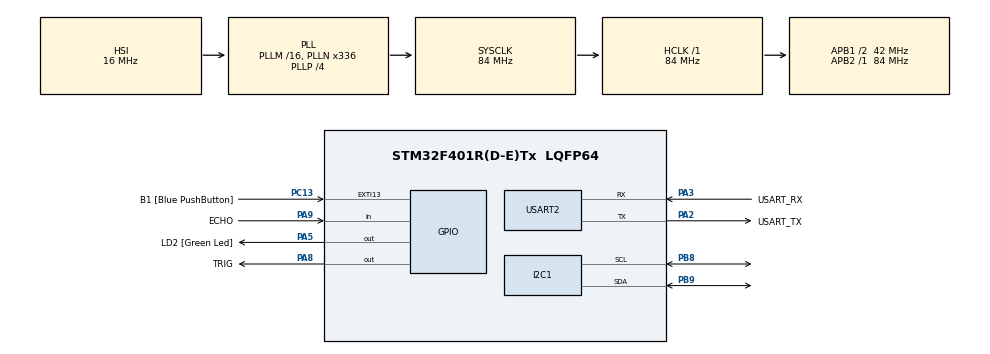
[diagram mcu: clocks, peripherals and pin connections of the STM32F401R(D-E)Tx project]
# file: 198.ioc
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Mcu.Family=STM32F4
Mcu.Name=STM32F401R(D-E)Tx
Mcu.Package=LQFP64
NVIC.PriorityGroup=NVIC_PRIORITYGROUP_0
PA13.GPIO_Label=TMS
PA13.Mode=Serial_Wire
PA13.Signal=SYS_JTMS-SWDIO
PA14.GPIO_Label=TCK
PA14.Mode=Serial_Wire
PA14.Signal=SYS_JTCK-SWCLK
PA2.GPIO_Label=USART_TX
PA2.GPIO_Mode=GPIO_MODE_AF_PP
PA2.GPIO_PuPd=GPIO_NOPULL
PA2.GPIO_Speed=GPIO_SPEED_FREQ_LOW
PA2.Mode=Asynchronous
PA2.Signal=USART2_TX
PA3.GPIO_Label=USART_RX
PA3.GPIO_Mode=GPIO_MODE_AF_PP
PA3.GPIO_PuPd=GPIO_NOPULL
PA3.GPIO_Speed=GPIO_SPEED_FREQ_LOW
PA3.Mode=Asynchronous
PA3.Signal=USART2_RX
PA5.GPIO_Label=LD2 [Green Led]
PA5.GPIO_Mode=GPIO_MODE_OUTPUT_PP
PA5.GPIO_PuPd=GPIO_NOPULL
PA5.GPIO_Speed=GPIO_SPEED_FREQ_LOW
PA5.Signal=GPIO_Output
PA8.GPIO_Label=TRIG
PA8.Signal=GPIO_Output
PA9.GPIO_Label=ECHO
PA9.Signal=GPIO_Input
PB3.GPIO_Label=SWO
PB3.Signal=SYS_JTDO-SWO
PB8.Mode=I2C
PB8.Signal=I2C1_SCL
PB9.Mode=I2C
PB9.Signal=I2C1_SDA
PC13-ANTI_TAMP.GPIO_Label=B1 [Blue PushButton]
PC13-ANTI_TAMP.GPIO_ModeDefaultEXTI=GPIO_MODE_IT_FALLING
PC13-ANTI_TAMP.GPIO_PuPd=GPIO_NOPULL
PC13-ANTI_TAMP.Signal=GPXTI13
PC14-OSC32_IN.Mode=LSE-External-Oscillator
PC14-OSC32_IN.Signal=RCC_OSC32_IN
PC15-OSC32_OUT.Mode=LSE-External-Oscillator
PC15-OSC32_OUT.Signal=RCC_OSC32_OUT
PH0\ -\ OSC_IN.Mode=HSE-External-Clock-Source
PH0\ -\ OSC_IN.Signal=RCC_OSC_IN
PH1\ -\ OSC_OUT.Mode=HSE-External-Clock-Source
PH1\ -\ OSC_OUT.Signal=RCC_OSC_OUT
ProjectManager.HeapSize=0x200
ProjectManager.StackSize=0x400
ProjectManager.TargetToolchain=STM32CubeIDE
RCC.48MHZClocksFreq_Value=48000000
RCC.AHBFreq_Value=84000000
RCC.APB1CLKDivider=RCC_HCLK_DIV2
RCC.APB1Freq_Value=42000000
RCC.APB1TimFreq_Value=84000000
RCC.APB2Freq_Value=84000000
RCC.APB2TimFreq_Value=84000000
RCC.CortexFreq_Value=84000000
RCC.HCLKFreq_Value=84000000
RCC.HSE_VALUE=8000000
RCC.HSI_VALUE=16000000
RCC.PLLN=336
RCC.PLLP=RCC_PLLP_DIV4
RCC.PLLQ=7
RCC.SYSCLKFreq_VALUE=84000000
RCC.SYSCLKSource=RCC_SYSCLKSOURCE_PLLCLK
RCC.VCOOutputFreq_Value=336000000
TIM3.Period=0
TIM3.Prescaler=84-1
USART2.VirtualMode=VM_ASYNC
VP_TIM3_VS_ClockSourceINT.Mode=Internal
board=NUCLEO-F401RE

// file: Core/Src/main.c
/* USER CODE BEGIN Header */
/**
 ******************************************************************************
 * @file           : main.c
 * @brief          : Main program body
 ******************************************************************************
 * @attention
 *
 * Copyright (c) 2022 STMicroelectronics.
 * All rights reserved.
 *
 * This software is licensed under terms that can be found in the LICENSE file
 * in the root directory of this software component.
 * If no LICENSE file comes with this software, it is provided AS-IS.
 *
 ******************************************************************************
 */
/* USER CODE END Header */
#include "main.h"

/* USER CODE BEGIN Includes */
#include "liquidcrystal_i2c.h"
#include <stdio.h>
#include <string.h>
/* USER CODE END Includes */

/* USER CODE BEGIN PTD */
#define usTIM TIM3
/* USER CODE END PTD */

I2C_HandleTypeDef hi2c1;

TIM_HandleTypeDef htim3;

UART_HandleTypeDef huart2;

void SystemClock_Config(void);
static void MX_GPIO_Init(void);
static void MX_USART2_UART_Init(void);
static void MX_I2C1_Init(void);
static void MX_TIM3_Init(void);
/* USER CODE BEGIN PFP */

void usDelay(uint32_t uSec);
/* USER CODE END PFP */

/* USER CODE BEGIN 0 */
const float speedOfSound = 0.0343 / 2;
float distance;
char uartBuf[100];

int _write(int file, char *ptr, int len) {
	/* Implement your write code here, this is used by puts and printf for example */
	int i = 0;
	for (i = 0; i < len; i++)
		ITM_SendChar((*ptr++));
	return len;
}
uint8_t count = 0;
/* USER CODE END 0 */

int main(void) {
	/* USER CODE BEGIN 1 */
	uint32_t numTicks;
	/* USER CODE END 1 */

	/* MCU Configuration--------------------------------------------------------*/

	/* Reset of all peripherals, Initializes the Flash interface and the Systick. */
	HAL_Init();

	/* Configure the system clock */
	SystemClock_Config();

	/* Initialize all configured peripherals */
	MX_GPIO_Init();
	MX_USART2_UART_Init();
	MX_I2C1_Init();
	MX_TIM3_Init();
	/* USER CODE BEGIN 2 */
	HD44780_Init(2);
	HD44780_Clear();
	HD44780_SetCursor(0, 0);
	HD44780_PrintStr("Hello World");
	/* USER CODE END 2 */

	/* Infinite loop */
	while (1) {

		/* USER CODE BEGIN 3 */
		HAL_GPIO_TogglePin(GPIOA, GPIO_PIN_5);

		//Set TRIG to LOW for a few uSec
		HAL_GPIO_WritePin(TRIG_GPIO_Port, TRIG_Pin, GPIO_PIN_RESET);
		usDelay(3);

		//Use TRIG
		HAL_GPIO_WritePin(TRIG_GPIO_Port, TRIG_Pin, GPIO_PIN_SET);
		usDelay(10);
		HAL_GPIO_WritePin(TRIG_GPIO_Port, TRIG_Pin, GPIO_PIN_RESET);

		//Measure Echo Signal
		while (HAL_GPIO_ReadPin(ECHO_GPIO_Port, ECHO_Pin) == GPIO_PIN_RESET)
			;

		numTicks = 0;
		while (HAL_GPIO_ReadPin(ECHO_GPIO_Port, ECHO_Pin) == GPIO_PIN_SET) {
			numTicks++;
			usDelay(2); // 2.8 usec
		}

		distance = (numTicks + 0.0f) * 2.8 * speedOfSound;

		sprintf(uartBuf, "Distance (cm) = %d\r\n", (int) (distance));

		HAL_UART_Transmit(&huart2, (uint8_t*) uartBuf, strlen(uartBuf), 100);

		HAL_Delay(1000);
	}
	/* USER CODE END 3 */
}

void SystemClock_Config(void) {
	RCC_OscInitTypeDef RCC_OscInitStruct = { 0 };
	RCC_ClkInitTypeDef RCC_ClkInitStruct = { 0 };

	/** Configure the main internal regulator output voltage
	 */
	__HAL_RCC_PWR_CLK_ENABLE();
	__HAL_PWR_VOLTAGESCALING_CONFIG(PWR_REGULATOR_VOLTAGE_SCALE2);

	/** Initializes the RCC Oscillators according to the specified parameters
	 * in the RCC_OscInitTypeDef structure.
	 */
	RCC_OscInitStruct.OscillatorType = RCC_OSCILLATORTYPE_HSI;
	RCC_OscInitStruct.HSIState = RCC_HSI_ON;
	RCC_OscInitStruct.HSICalibrationValue = RCC_HSICALIBRATION_DEFAULT;
	RCC_OscInitStruct.PLL.PLLState = RCC_PLL_ON;
	RCC_OscInitStruct.PLL.PLLSource = RCC_PLLSOURCE_HSI;
	RCC_OscInitStruct.PLL.PLLM = 16;
	RCC_OscInitStruct.PLL.PLLN = 336;
	RCC_OscInitStruct.PLL.PLLP = RCC_PLLP_DIV4;
	RCC_OscInitStruct.PLL.PLLQ = 7;
	if (HAL_RCC_OscConfig(&RCC_OscInitStruct) != HAL_OK) {
		Error_Handler();
	}

	/** Initializes the CPU, AHB and APB buses clocks
	 */
	RCC_ClkInitStruct.ClockType = RCC_CLOCKTYPE_HCLK | RCC_CLOCKTYPE_SYSCLK
			| RCC_CLOCKTYPE_PCLK1 | RCC_CLOCKTYPE_PCLK2;
	RCC_ClkInitStruct.SYSCLKSource = RCC_SYSCLKSOURCE_PLLCLK;
	RCC_ClkInitStruct.AHBCLKDivider = RCC_SYSCLK_DIV1;
	RCC_ClkInitStruct.APB1CLKDivider = RCC_HCLK_DIV2;
	RCC_ClkInitStruct.APB2CLKDivider = RCC_HCLK_DIV1;

	if (HAL_RCC_ClockConfig(&RCC_ClkInitStruct, FLASH_LATENCY_2) != HAL_OK) {
		Error_Handler();
	}
}

static void MX_I2C1_Init(void) {

	hi2c1.Instance = I2C1;
	hi2c1.Init.ClockSpeed = 100000;
	hi2c1.Init.DutyCycle = I2C_DUTYCYCLE_2;
	hi2c1.Init.OwnAddress1 = 0;
	hi2c1.Init.AddressingMode = I2C_ADDRESSINGMODE_7BIT;
	hi2c1.Init.DualAddressMode = I2C_DUALADDRESS_DISABLE;
	hi2c1.Init.OwnAddress2 = 0;
	hi2c1.Init.GeneralCallMode = I2C_GENERALCALL_DISABLE;
	hi2c1.Init.NoStretchMode = I2C_NOSTRETCH_DISABLE;
	if (HAL_I2C_Init(&hi2c1) != HAL_OK) {
		Error_Handler();
	}

}

static void MX_TIM3_Init(void) {

	TIM_ClockConfigTypeDef sClockSourceConfig = { 0 };
	TIM_MasterConfigTypeDef sMasterConfig = { 0 };

	htim3.Instance = TIM3;
	htim3.Init.Prescaler = 84 - 1;
	htim3.Init.CounterMode = TIM_COUNTERMODE_UP;
	htim3.Init.Period = 0;
	htim3.Init.ClockDivision = TIM_CLOCKDIVISION_DIV1;
	htim3.Init.AutoReloadPreload = TIM_AUTORELOAD_PRELOAD_DISABLE;
	if (HAL_TIM_Base_Init(&htim3) != HAL_OK) {
		Error_Handler();
	}
	sClockSourceConfig.ClockSource = TIM_CLOCKSOURCE_INTERNAL;
	if (HAL_TIM_ConfigClockSource(&htim3, &sClockSourceConfig) != HAL_OK) {
		Error_Handler();
	}
	sMasterConfig.MasterOutputTrigger = TIM_TRGO_RESET;
	sMasterConfig.MasterSlaveMode = TIM_MASTERSLAVEMODE_DISABLE;
	if (HAL_TIMEx_MasterConfigSynchronization(&htim3, &sMasterConfig)
			!= HAL_OK) {
		Error_Handler();
	}

}

static void MX_USART2_UART_Init(void) {

	huart2.Instance = USART2;
	huart2.Init.BaudRate = 115200;
	huart2.Init.WordLength = UART_WORDLENGTH_8B;
	huart2.Init.StopBits = UART_STOPBITS_1;
	huart2.Init.Parity = UART_PARITY_NONE;
	huart2.Init.Mode = UART_MODE_TX_RX;
	huart2.Init.HwFlowCtl = UART_HWCONTROL_NONE;
	huart2.Init.OverSampling = UART_OVERSAMPLING_16;
	if (HAL_UART_Init(&huart2) != HAL_OK) {
		Error_Handler();
	}

}

static void MX_GPIO_Init(void) {
	GPIO_InitTypeDef GPIO_InitStruct = { 0 };

	/* GPIO Ports Clock Enable */
	__HAL_RCC_GPIOC_CLK_ENABLE();
	__HAL_RCC_GPIOH_CLK_ENABLE();
	__HAL_RCC_GPIOA_CLK_ENABLE();
	__HAL_RCC_GPIOB_CLK_ENABLE();

	/*Configure GPIO pin Output Level */
	HAL_GPIO_WritePin(GPIOA, LD2_Pin | TRIG_Pin, GPIO_PIN_RESET);

	/*Configure GPIO pin : B1_Pin */
	GPIO_InitStruct.Pin = B1_Pin;
	GPIO_InitStruct.Mode = GPIO_MODE_IT_FALLING;
	GPIO_InitStruct.Pull = GPIO_NOPULL;
	HAL_GPIO_Init(B1_GPIO_Port, &GPIO_InitStruct);

	/*Configure GPIO pins : LD2_Pin TRIG_Pin */
	GPIO_InitStruct.Pin = LD2_Pin | TRIG_Pin;
	GPIO_InitStruct.Mode = GPIO_MODE_OUTPUT_PP;
	GPIO_InitStruct.Pull = GPIO_NOPULL;
	GPIO_InitStruct.Speed = GPIO_SPEED_FREQ_LOW;
	HAL_GPIO_Init(GPIOA, &GPIO_InitStruct);

	/*Configure GPIO pin : ECHO_Pin */
	GPIO_InitStruct.Pin = ECHO_Pin;
	GPIO_InitStruct.Mode = GPIO_MODE_INPUT;
	GPIO_InitStruct.Pull = GPIO_NOPULL;
	HAL_GPIO_Init(ECHO_GPIO_Port, &GPIO_InitStruct);

}

/* USER CODE BEGIN 4 */

void usDelay(uint32_t uSec) {
	if (uSec < 2)
		uSec = 2;
	usTIM->ARR = uSec - 1; /*sets the value in the auto-reload register*/
	usTIM->EGR = 1; /*Re-initialises the timer*/
	usTIM->SR &= ~1; 		//Resets the flag
	usTIM->CR1 |= 1; 		//Enables the counter
	while ((usTIM->SR & 0x0001) != 1)
		;
	usTIM->SR &= ~(0x0001);
}

/* USER CODE END 4 */

void Error_Handler(void) {
	__disable_irq();
	while (1) {
	}
}
